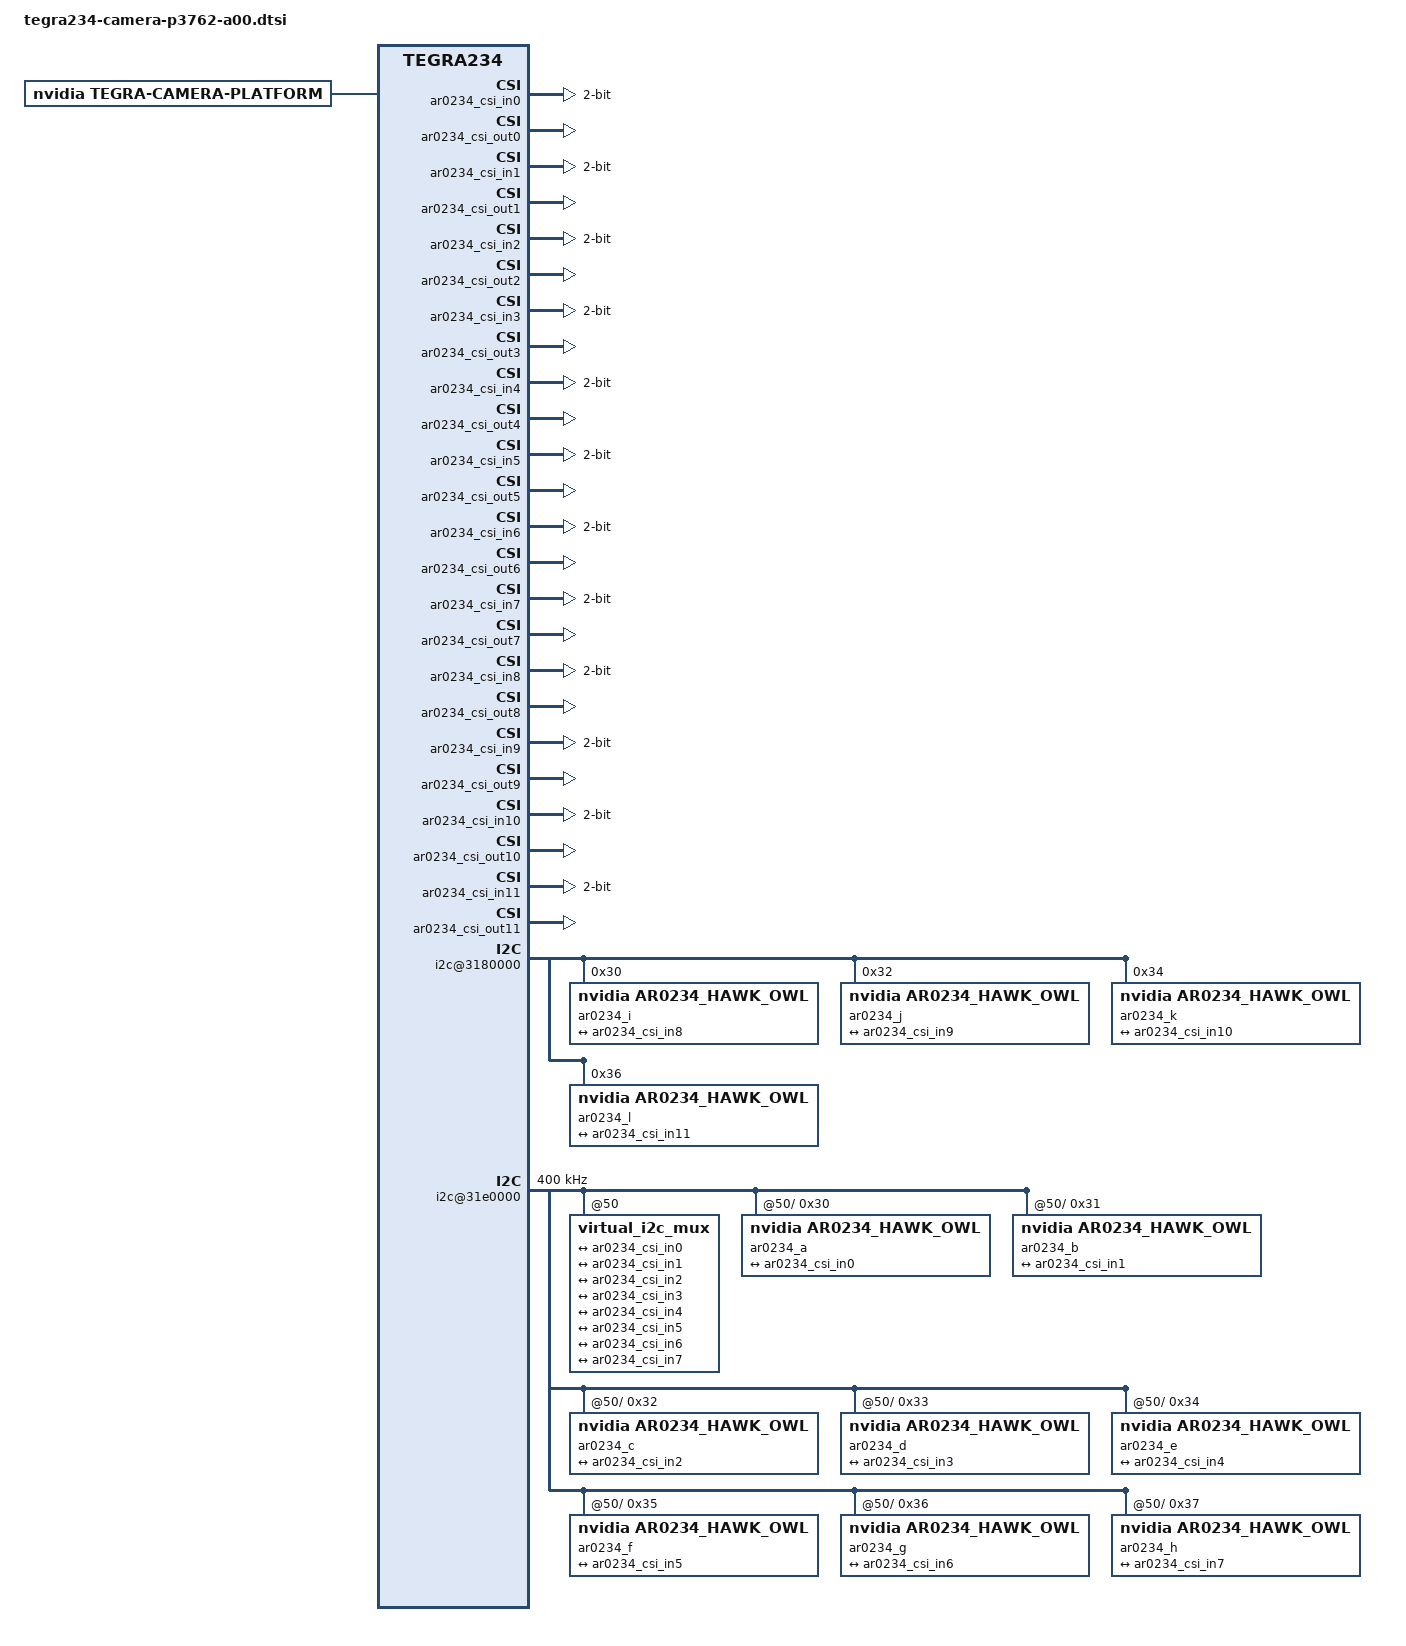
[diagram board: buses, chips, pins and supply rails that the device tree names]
// SPDX-License-Identifier: GPL-2.0-only
// SPDX-FileCopyrightText: Copyright (c) 2023-2024, NVIDIA CORPORATION & AFFILIATES. All rights reserved.

/* 12 camera module with 4 hawks and 4 Owls
 * HAWK1 - 2 ar0234 cameras - max96712 Aggregator 1 - GMSL0
 * HAWK2 - 2 ar0234 cameras - max96712 Aggregator 1 - GMSL0
 * HAWK3 - 2 ar0234 cameras - max96712 Aggregator 1 - GMSL0
 * HAWK4 - 2 ar0234 cameras - max96712 Aggregator 1 - GMSL0
 * OWL1  - 1 ar0234 camera  - max96712 Aggregator 2 - GMSL1
 * OWL2  - 1 ar0234 camera  - max96712 Aggregator 2 - GMSL1
 * OWL3  - 1 ar0234 camera  - max96712 Aggregator 2 - GMSL1
 * OWL4  - 1 ar0234 camera  - max96712 Aggregator 2 - GMSL1
 */
/ {
	fragment-camera@0 {
		target-path = "/";
		__overlay__ {
			tegra-capture-vi {
				num-channels = <12>;
				ports {
					#address-cells = <1>;
					#size-cells = <0>;
					port@0 {
						reg = <0>;
						status = "okay";
						ar0234_vi_in0: endpoint {
							vc-id = <0>;
							port-index = <0>;
							bus-width = <2>;
							remote-endpoint = <&ar0234_csi_out0>;
							status = "okay";
						};
					};
					port@1 {
						reg = <1>;
						status = "okay";
						ar0234_vi_in1: endpoint {
							vc-id = <1>;
							port-index = <0>;
							bus-width = <2>;
							remote-endpoint = <&ar0234_csi_out1>;
							status = "okay";
						};
					};
					port@2 {
						reg = <2>;
						status = "okay";
						ar0234_vi_in2: endpoint {
							vc-id = <0>;
							port-index = <1>;
							bus-width = <2>;
							remote-endpoint = <&ar0234_csi_out2>;
							status = "okay";
						};
					};
					port@3 {
						reg = <3>;
						status = "okay";
						ar0234_vi_in3: endpoint {
							vc-id = <1>;
							port-index = <1>;
							bus-width = <2>;
							remote-endpoint = <&ar0234_csi_out3>;
							status = "okay";
						};
					};
					port@4 {
						reg = <4>;
						status = "okay";
						ar0234_vi_in4: endpoint {
							vc-id = <0>;
							port-index = <2>;
							bus-width = <2>;
							remote-endpoint = <&ar0234_csi_out4>;
							status = "okay";
						};
					};
					port@5 {
						reg = <5>;
						status = "okay";
						ar0234_vi_in5: endpoint {
							vc-id = <1>;
							port-index = <2>;
							bus-width = <2>;
							remote-endpoint = <&ar0234_csi_out5>;
							status = "okay";
						};
					};
					port@6 {
						reg = <6>;
						status = "okay";
						ar0234_vi_in6: endpoint {
							vc-id = <0>;
							port-index = <3>;
							bus-width = <2>;
							remote-endpoint = <&ar0234_csi_out6>;
							status = "okay";
						};
					};
					port@7 {
						reg = <7>;
						status = "okay";
						ar0234_vi_in7: endpoint {
						vc-id = <1>;
							port-index = <3>;
							bus-width = <2>;
							remote-endpoint = <&ar0234_csi_out7>;
							status = "okay";
						};
					};
					port@8 {
						reg = <8>;
						status = "okay";
						ar0234_vi_in8: endpoint {
							vc-id = <0>;
							port-index = <4>;
							bus-width = <2>;
							remote-endpoint = <&ar0234_csi_out8>;
							status = "okay";
						};
					};
					port@9 {
						reg = <9>;
						status = "okay";
						ar0234_vi_in9: endpoint {
							vc-id = <1>;
							port-index = <4>;
							bus-width = <2>;
							remote-endpoint = <&ar0234_csi_out9>;
							status = "okay";
						};
					};
					port@10 {
						reg = <10>;
						status = "okay";
						ar0234_vi_in10: endpoint {
							vc-id = <2>;
							port-index = <4>;
							bus-width = <2>;
							remote-endpoint = <&ar0234_csi_out10>;
							status = "okay";
						};
					};
					port@11 {
						reg = <11>;
						status = "okay";
						ar0234_vi_in11: endpoint {
							vc-id = <3>;
							port-index = <4>;
							bus-width = <2>;
							remote-endpoint = <&ar0234_csi_out11>;
							status = "okay";
						};
					};
				};
			};
			bus@0 {
				host1x@13e00000 {
					nvcsi@15a00000 {
						num-channels = <12>;
						#address-cells = <1>;
						#size-cells = <0>;
						channel@0 {
							reg = <0>;
							status = "okay";
							ports {
								#address-cells = <1>;
								#size-cells = <0>;
								port@0 {
									reg = <0>;
									status = "okay";
									ar0234_csi_in0: endpoint@0 {
										port-index = <0>;
										bus-width = <2>;
										remote-endpoint = <&ar0234_ar0234_out0>;
										status = "okay";
									};
								};
								port@1 {
									reg = <1>;
									status = "okay";
									ar0234_csi_out0: endpoint@1 {
										remote-endpoint = <&ar0234_vi_in0>;
										status = "okay";
									};
								};
							};
						};
						channel@1 {
							reg = <1>;
							status = "okay";
							ports {
								#address-cells = <1>;
								#size-cells = <0>;
								port@0 {
									reg = <0>;
									status = "okay";
									ar0234_csi_in1: endpoint@2 {
										port-index = <0>;
										bus-width = <2>;
										remote-endpoint = <&ar0234_ar0234_out1>;
										status = "okay";
									};
								};
								port@1 {
									reg = <1>;
									status = "okay";
									ar0234_csi_out1: endpoint@3 {
										remote-endpoint = <&ar0234_vi_in1>;
										status = "okay";
									};
								};
							};
						};
						channel@2 {
							reg = <2>;
							status = "okay";
							ports {
								#address-cells = <1>;
								#size-cells = <0>;
								port@0 {
									reg = <0>;
									status = "okay";
									ar0234_csi_in2: endpoint@4 {
										port-index = <1>;
										bus-width = <2>;
										remote-endpoint = <&ar0234_ar0234_out2>;
										status = "okay";
									};
								};
								port@1 {
									reg = <1>;
									status = "okay";
									ar0234_csi_out2: endpoint@5 {
										remote-endpoint = <&ar0234_vi_in2>;
										status = "okay";
									};
								};
							};
						};
						channel@3 {
							reg = <3>;
							status = "okay";
							ports {
								#address-cells = <1>;
								#size-cells = <0>;
								port@0 {
									reg = <0>;
									status = "okay";
									ar0234_csi_in3: endpoint@6 {
										port-index = <1>;
										bus-width = <2>;
										remote-endpoint = <&ar0234_ar0234_out3>;
										status = "okay";
									};
								};
								port@1 {
									reg = <1>;
									status = "okay";
									ar0234_csi_out3: endpoint@7 {
										remote-endpoint = <&ar0234_vi_in3>;
										status = "okay";
									};
								};
							};
						};
						channel@4 {
							reg = <4>;
							status = "okay";
							ports {
								#address-cells = <1>;
								#size-cells = <0>;
								port@0 {
									reg = <0>;
									status = "okay";
									ar0234_csi_in4: endpoint@8 {
										port-index = <2>;
										bus-width = <2>;
										remote-endpoint = <&ar0234_ar0234_out4>;
										status = "okay";
									};
								};
								port@1 {
									reg = <1>;
									status = "okay";
									ar0234_csi_out4: endpoint@9 {
										remote-endpoint = <&ar0234_vi_in4>;
										status = "okay";
									};
								};
							};
						};
						channel@5 {
							reg = <5>;
							status = "okay";
							ports {
								#address-cells = <1>;
								#size-cells = <0>;
								port@0 {
									reg = <0>;
									status = "okay";
									ar0234_csi_in5: endpoint@10 {
										port-index = <2>;
										bus-width = <2>;
										remote-endpoint = <&ar0234_ar0234_out5>;
										status = "okay";
									};
								};
								port@1 {
									reg = <1>;
									status = "okay";
									ar0234_csi_out5: endpoint@11 {
										remote-endpoint = <&ar0234_vi_in5>;
										status = "okay";
									};
								};
							};
						};
						channel@6 {
							reg = <6>;
							status = "okay";
							ports {
								#address-cells = <1>;
								#size-cells = <0>;
								port@0 {
									reg = <0>;
									status = "okay";
									ar0234_csi_in6: endpoint@12 {
										port-index = <3>;
										bus-width = <2>;
										remote-endpoint = <&ar0234_ar0234_out6>;
										status = "okay";
									};
								};
								port@1 {
									reg = <1>;
									status = "okay";
									ar0234_csi_out6: endpoint@13 {
										remote-endpoint = <&ar0234_vi_in6>;
										status = "okay";
									};
								};
							};
						};
						channel@7 {
							reg = <7>;
							status = "okay";
							ports {
								#address-cells = <1>;
								#size-cells = <0>;
								port@0 {
									reg = <0>;
									status = "okay";
									ar0234_csi_in7: endpoint@14 {
										port-index = <3>;
										bus-width = <2>;
										remote-endpoint = <&ar0234_ar0234_out7>;
										status = "okay";
									};
								};
								port@1 {
									reg = <1>;
									status = "okay";
									ar0234_csi_out7: endpoint@15 {
										remote-endpoint = <&ar0234_vi_in7>;
										status = "okay";
									};
								};
							};
						};
						channel@8 {
							reg = <8>;
							status = "okay";
							ports {
								#address-cells = <1>;
								#size-cells = <0>;
								port@0 {
									reg = <0>;
									status = "okay";
									ar0234_csi_in8: endpoint@16 {
										port-index = <4>;
										bus-width = <2>;
										remote-endpoint = <&ar0234_ar0234_out8>;
										status = "okay";
									};
								};
								port@1 {
									reg = <1>;
									status = "okay";
									ar0234_csi_out8: endpoint@17 {
										remote-endpoint = <&ar0234_vi_in8>;
										status = "okay";
									};
								};
							};
						};
						channel@9 {
							reg = <9>;
							status = "okay";
							ports {
								#address-cells = <1>;
								#size-cells = <0>;
								port@0 {
									reg = <0>;
									status = "okay";
									ar0234_csi_in9: endpoint@18 {
										port-index = <4>;
										bus-width = <2>;
										remote-endpoint = <&ar0234_ar0234_out9>;
										status = "okay";
									};
								};
								port@1 {
									reg = <1>;
									status = "okay";
									ar0234_csi_out9: endpoint@19 {
										remote-endpoint = <&ar0234_vi_in9>;
										status = "okay";
									};
								};
							};
						};
						channel@10 {
							reg = <10>;
							status = "okay";
							ports {
								#address-cells = <1>;
								#size-cells = <0>;
								port@0 {
									reg = <0>;
									status = "okay";
									ar0234_csi_in10: endpoint@20 {
										port-index = <4>;
										bus-width = <2>;
										remote-endpoint = <&ar0234_ar0234_out10>;
										status = "okay";
									};
								};
								port@1 {
									reg = <1>;
									status = "okay";
									ar0234_csi_out10: endpoint@21 {
										remote-endpoint = <&ar0234_vi_in10>;
										status = "okay";
									};
								};
							};
						};
						channel@11 {
							reg = <11>;
							status = "okay";
							ports {
								#address-cells = <1>;
								#size-cells = <0>;
								port@0 {
									reg = <0>;
									status = "okay";
									ar0234_csi_in11: endpoint@22 {
										port-index = <4>;
										bus-width = <2>;
										remote-endpoint = <&ar0234_ar0234_out11>;
										status = "okay";
									};
								};
								port@1 {
									reg = <1>;
									status = "okay";
									ar0234_csi_out11: endpoint@23 {
										remote-endpoint = <&ar0234_vi_in11>;
										status = "okay";
									};
								};
							};
						};
					};
				};
				i2c@3180000 {
					ar0234_i@30 {
						compatible = "nvidia,ar0234_hawk_owl";
						reg = <0x30>;
						/* Physical dimensions of sensor */
						physical_w = "15.0";
						physical_h = "12.5";
						sensor_model ="ar0234";
						sync_sensor = "OWL1";
						sync_sensor_index = <1>;
						/* Defines number of frames to be dropped by driver internally after applying */
						/* sensor crop settings. Some sensors send corrupt frames after applying */
						/* crop co-ordinates */
						post_crop_frame_drop = "0";
						/* enable CID_SENSOR_MODE_ID for sensor modes selection */
						use_sensor_mode_id = "true";
						mode0 {/*mode IMX424_MODE_3840X1080_CROP_30FPS*/
							mclk_khz = "24000";
							num_lanes = "2";
							tegra_sinterface = "serial_e";
							vc_id = "0";
							discontinuous_clk = "no";
							dpcm_enable = "false";
							cil_settletime = "0";
							dynamic_pixel_bit_depth = "10";
							csi_pixel_bit_depth = "10";
							mode_type = "bayer";
							pixel_phase = "grbg";
							active_w = "1920";
							active_h = "1200";
							readout_orientation = "0";
							line_length = "2448";
							inherent_gain = "1";
							mclk_multiplier = "3.01";
							pix_clk_hz = "134400000";
							serdes_pix_clk_hz = "299000000";
							gain_factor = "100";
							min_gain_val = "100"; /* dB */
							max_gain_val = "1600"; /* dB */
							step_gain_val = "1"; /* 0.1 */
							default_gain = "100";
							min_hdr_ratio = "1";
							max_hdr_ratio = "1";
							framerate_factor = "1000000";
							min_framerate = "30000000";
							max_framerate = "30000000";
							step_framerate = "30000000";
							default_framerate = "30000000";
							exposure_factor = "1000000";
							min_exp_time = "28"; /*us, 2 lines*/
							max_exp_time = "22000";
							step_exp_time = "1";
							default_exp_time = "22000";/* us */
							embedded_metadata_height = "0";
						};
						ports {
							#address-cells = <1>;
							#size-cells = <0>;
							port@0 {
								reg = <0>;
								ar0234_ar0234_out8: endpoint {
									vc-id = <0>;
									port-index = <4>;
									bus-width = <2>;
									remote-endpoint = <&ar0234_csi_in8>;
								};
							};
						};
					};
					ar0234_j@32 {
						compatible = "nvidia,ar0234_hawk_owl";
						reg = <0x32>;
						/* Physical dimensions of sensor */
						physical_w = "15.0";
						physical_h = "12.5";
						sensor_model ="ar0234";
						sync_sensor = "OWL2";
						sync_sensor_index = <1>;
						/* Defines number of frames to be dropped by driver internally after applying */
						/* sensor crop settings. Some sensors send corrupt frames after applying */
						/* crop co-ordinates */
						post_crop_frame_drop = "0";
						/* enable CID_SENSOR_MODE_ID for sensor modes selection */
						use_sensor_mode_id = "true";
						mode0 {/*mode IMX424_MODE_3840X1080_CROP_30FPS*/
							mclk_khz = "24000";
							num_lanes = "2";
							tegra_sinterface = "serial_e";
							vc_id = "1";
							discontinuous_clk = "no";
							dpcm_enable = "false";
							cil_settletime = "0";
							dynamic_pixel_bit_depth = "10";
							csi_pixel_bit_depth = "10";
							mode_type = "bayer";
							pixel_phase = "grbg";
							active_w = "1920";
							active_h = "1200";
							readout_orientation = "0";
							line_length = "2448";
							inherent_gain = "1";
							mclk_multiplier = "3.01";
							pix_clk_hz = "134400000";
							serdes_pix_clk_hz = "299000000";
							gain_factor = "100";
							min_gain_val = "100"; /* dB */
							max_gain_val = "1600"; /* dB */
							step_gain_val = "1"; /* 0.1 */
							default_gain = "100";
							min_hdr_ratio = "1";
							max_hdr_ratio = "1";
							framerate_factor = "1000000";
							min_framerate = "30000000";
							max_framerate = "30000000";
							step_framerate = "30000000";
							default_framerate = "30000000";
							exposure_factor = "1000000";
							min_exp_time = "28"; /*us, 2 lines*/
							max_exp_time = "22000";
							step_exp_time = "1";
							default_exp_time = "22000";/* us */
							embedded_metadata_height = "0";
						};
						ports {
							#address-cells = <1>;
							#size-cells = <0>;
							port@0 {
								reg = <0>;
								ar0234_ar0234_out9: endpoint {
									vc-id = <1>;
									port-index = <4>;
									bus-width = <2>;
									remote-endpoint = <&ar0234_csi_in9>;
								};
							};
						};
					};
					ar0234_k@34 {
						compatible = "nvidia,ar0234_hawk_owl";
						reg = <0x34>;
						/* Physical dimensions of sensor */
						physical_w = "15.0";
						physical_h = "12.5";
						sensor_model ="ar0234";
						sync_sensor = "OWL3";
						sync_sensor_index = <1>;
						/* Defines number of frames to be dropped by driver internally after applying */
						/* sensor crop settings. Some sensors send corrupt frames after applying */
						/* crop co-ordinates */
						post_crop_frame_drop = "0";
						/* enable CID_SENSOR_MODE_ID for sensor modes selection */
						use_sensor_mode_id = "true";
						mode0 {/*mode IMX424_MODE_3840X1080_CROP_30FPS*/
							mclk_khz = "24000";
							num_lanes = "2";
							tegra_sinterface = "serial_e";
							vc_id = "2";
							discontinuous_clk = "no";
							dpcm_enable = "false";
							cil_settletime = "0";
							dynamic_pixel_bit_depth = "10";
							csi_pixel_bit_depth = "10";
							mode_type = "bayer";
							pixel_phase = "grbg";
							active_w = "1920";
							active_h = "1200";
							readout_orientation = "0";
							line_length = "2448";
							inherent_gain = "1";
							mclk_multiplier = "3.01";
							pix_clk_hz = "134400000";
							serdes_pix_clk_hz = "299000000";
							gain_factor = "100";
							min_gain_val = "100"; /* dB */
							max_gain_val = "1600"; /* dB */
							step_gain_val = "1"; /* 0.1 */
							default_gain = "100";
							min_hdr_ratio = "1";
							max_hdr_ratio = "1";
							framerate_factor = "1000000";
							min_framerate = "30000000";
							max_framerate = "30000000";
							step_framerate = "30000000";
							default_framerate = "30000000";
							exposure_factor = "1000000";
							min_exp_time = "28"; /*us, 2 lines*/
							max_exp_time = "22000";
							step_exp_time = "1";
							default_exp_time = "22000";/* us */
							embedded_metadata_height = "0";
						};
						ports {
							#address-cells = <1>;
							#size-cells = <0>;
							port@0 {
								reg = <0>;
								ar0234_ar0234_out10: endpoint {
									vc-id = <2>;
									port-index = <4>;
									bus-width = <2>;
									remote-endpoint = <&ar0234_csi_in10>;
								};
							};
						};
					};
					ar0234_l@36 {
						compatible = "nvidia,ar0234_hawk_owl";
						reg = <0x36>;
						/* Physical dimensions of sensor */
						physical_w = "15.0";
						physical_h = "12.5";
						sensor_model ="ar0234";
						sync_sensor = "OWL4";
						sync_sensor_index = <1>;
						/* Defines number of frames to be dropped by driver internally after applying */
						/* sensor crop settings. Some sensors send corrupt frames after applying */
						/* crop co-ordinates */
						post_crop_frame_drop = "0";
						/* enable CID_SENSOR_MODE_ID for sensor modes selection */
						use_sensor_mode_id = "true";
						mode0 {/*mode IMX424_MODE_3840X1080_CROP_30FPS*/
							mclk_khz = "24000";
							num_lanes = "2";
							tegra_sinterface = "serial_e";
							vc_id = "3";
							discontinuous_clk = "no";
							dpcm_enable = "false";
							cil_settletime = "0";
							dynamic_pixel_bit_depth = "10";
							csi_pixel_bit_depth = "10";
							mode_type = "bayer";
							pixel_phase = "grbg";
							active_w = "1920";
							active_h = "1200";
							readout_orientation = "0";
							line_length = "2448";
							inherent_gain = "1";
							mclk_multiplier = "3.01";
							pix_clk_hz = "134400000";
							serdes_pix_clk_hz = "299000000";
							gain_factor = "100";
							min_gain_val = "100"; /* dB */
							max_gain_val = "1600"; /* dB */
							step_gain_val = "1"; /* 0.1 */
							default_gain = "100";
							min_hdr_ratio = "1";
							max_hdr_ratio = "1";
							framerate_factor = "1000000";
							min_framerate = "30000000";
							max_framerate = "30000000";
							step_framerate = "30000000";
							default_framerate = "30000000";
							exposure_factor = "1000000";
							min_exp_time = "28"; /*us, 2 lines*/
							max_exp_time = "22000";
							step_exp_time = "1";
							default_exp_time = "22000";/* us */
							embedded_metadata_height = "0";
						};
						ports {
							#address-cells = <1>;
							#size-cells = <0>;
							port@0 {
								reg = <0>;
								ar0234_ar0234_out11: endpoint {
									vc-id = <3>;
									port-index = <4>;
									bus-width = <2>;
									remote-endpoint = <&ar0234_csi_in11>;
								};
							};
						};
					};
				};
				/*i2c8*/
				i2c@31e0000 {
					/* Set i2c freq to 400khz */
					clock-frequency = <400000>;
					virtual_i2c_mux@50 {
						i2c@0 {
							ar0234_a@30 {
								compatible = "nvidia,ar0234_hawk_owl";
								reg = <0x30>;
								/* Physical dimensions of sensor */
								physical_w = "15.0";
								physical_h = "12.5";
								sensor_model ="ar0234";
								sync_sensor = "HAWK1";
								sync_sensor_index = <1>;
								/* Defines number of frames to be dropped by driver internally after applying */
								/* sensor crop settings. Some sensors send corrupt frames after applying */
								/* crop co-ordinates */
								post_crop_frame_drop = "0";
								/* enable CID_SENSOR_MODE_ID for sensor modes selection */
								use_sensor_mode_id = "true";
								/**
								 * A modeX node is required to support v4l2 driver
								 * implementation with NVIDIA camera software stack
								 *
								 * mclk_khz = "";
								 * Standard MIPI driving clock, typically 24MHz
								 *
								 * num_lanes = "";
								 * Number of lane channels sensor is programmed to output
								 *
								 * tegra_sinterface = "";
								 * The base tegra serial interface lanes are connected to
								 *
								 * vc_id = "";
								 * The virtual channel id of the sensor.
								 *
								 * discontinuous_clk = "";
								 * The sensor is programmed to use a discontinuous clock on MIPI lanes
								 *
								 * dpcm_enable = "true";
								 * The sensor is programmed to use a DPCM modes
								 *
								 * cil_settletime = "";
								 * MIPI lane settle time value.
								 * A "0" value attempts to autocalibrate based on mclk_khz and pix_clk_hz
								 *
								 * active_w = "";
								 * Pixel active region width
								 *
								 * active_h = "";
								 * Pixel active region height
								 *
								 * dynamic_pixel_bit_depth = "";
								 * sensor dynamic bit depth for sensor mode
								 *
								 * csi_pixel_bit_depth = "";
								 * sensor output bit depth for sensor mode
								 *
								 * mode_type="";
								 * Sensor mode type, For eg: yuv, Rgb, bayer, bayer_wdr_pwl
								 *
								 * pixel_phase="";
								 * Pixel phase for sensor mode, For eg: rggb, vyuy, rgb888
								 *
								 * readout_orientation = "0";
								 * Based on camera module orientation.
								 * Only change readout_orientation if you specifically
								 * Program a different readout order for this mode
								 *
								 * line_length = "";
								 * Pixel line length (width) for sensor mode.
								 * This is used to calibrate features in our camera stack.
								 *
								 * pix_clk_hz = "";
								 * Sensor pixel clock used for calculations like exposure and framerate
								 *
								 *
								 *
								 *
								 * inherent_gain = "";
								 * Gain obtained inherently from mode (ie. pixel binning)
								 *
								 * min_gain_val = ""; (floor to 6 decimal places)
								 * max_gain_val = ""; (floor to 6 decimal places)
								 * Gain limits for mode
								 * if use_decibel_gain = "true", please set the gain as decibel
								 *
								 * min_exp_time = ""; (ceil to integer)
								 * max_exp_time = ""; (ceil to integer)
								 * Exposure Time limits for mode (us)
								 *
								 *
								 * min_hdr_ratio = "";
								 * max_hdr_ratio = "";
								 * HDR Ratio limits for mode
								 *
								 * min_framerate = "";
								 * max_framerate = "";
								 * Framerate limits for mode (fps)
								 *
								 * embedded_metadata_height = "";
								 * Sensor embedded metadata height in units of rows.
								 * If sensor does not support embedded metadata value should be 0.
								*/
								mode0 {/*mode IMX424_MODE_3840X1080_CROP_30FPS*/
									mclk_khz = "24000";
									num_lanes = "2";
									tegra_sinterface = "serial_a";
									phy_mode = "DPHY";
									vc_id = "0";
									discontinuous_clk = "no";
									dpcm_enable = "false";
									cil_settletime = "0";
									dynamic_pixel_bit_depth = "10";
									csi_pixel_bit_depth = "10";
									mode_type = "bayer";
									pixel_phase = "grbg";
									active_w = "1920";
									active_h = "1200";
									readout_orientation = "0";
									line_length = "2448";
									inherent_gain = "1";
									mclk_multiplier = "3.01";
									pix_clk_hz = "134400000";
									serdes_pix_clk_hz = "299000000";
									gain_factor = "100";
									min_gain_val = "100"; /* dB */
									max_gain_val = "1600"; /* dB */
									step_gain_val = "1"; /* 0.1 */
									default_gain = "100";
									min_hdr_ratio = "1";
									max_hdr_ratio = "1";
									framerate_factor = "1000000";
									min_framerate = "30000000";
									max_framerate = "30000000";
									step_framerate = "30000000";
									default_framerate = "30000000";
									exposure_factor = "1000000";
									min_exp_time = "28"; /*us, 2 lines*/
									max_exp_time = "22000";
									step_exp_time = "1";
									default_exp_time = "22000";/* us */
									embedded_metadata_height = "0";
								};
								ports {
									#address-cells = <1>;
									#size-cells = <0>;
									port@0 {
										reg = <0>;
										ar0234_ar0234_out0: endpoint {
											vc-id = <0>;
											port-index = <0>;
											bus-width = <2>;
											remote-endpoint = <&ar0234_csi_in0>;
										};
									};
								};
							};
							ar0234_b@31 {
								compatible = "nvidia,ar0234_hawk_owl";
								reg = <0x31>;
								/* Physical dimensions of sensor */
								physical_w = "15.0";
								physical_h = "12.5";
								sensor_model ="ar0234";
								sync_sensor = "HAWK1";
								sync_sensor_index = <2>;
								/* Defines number of frames to be dropped by driver internally after applying */
								/* sensor crop settings. Some sensors send corrupt frames after applying */
								/* crop co-ordinates */
								post_crop_frame_drop = "0";
								/* enable CID_SENSOR_MODE_ID for sensor modes selection */
								use_sensor_mode_id = "true";
								mode0 {/*mode IMX424_MODE_3840X1080_CROP_30FPS*/
									mclk_khz = "24000";
									num_lanes = "2";
									tegra_sinterface = "serial_a";
									vc_id = "1";
									discontinuous_clk = "no";
									dpcm_enable = "false";
									cil_settletime = "0";
									dynamic_pixel_bit_depth = "10";
									csi_pixel_bit_depth = "10";
									mode_type = "bayer";
									pixel_phase = "grbg";
									active_w = "1920";
									active_h = "1200";
									readout_orientation = "0";
									line_length = "2448";
									inherent_gain = "1";
									mclk_multiplier = "3.01";
									pix_clk_hz = "134400000";
									serdes_pix_clk_hz = "299000000";
									gain_factor = "100";
									min_gain_val = "100"; /* dB */
									max_gain_val = "1600"; /* dB */
									step_gain_val = "1"; /* 0.1 */
									default_gain = "100";
									min_hdr_ratio = "1";
									max_hdr_ratio = "1";
									framerate_factor = "1000000";
									min_framerate = "30000000";
									max_framerate = "30000000";
									step_framerate = "30000000";
									default_framerate = "30000000";
									exposure_factor = "1000000";
									min_exp_time = "28"; /*us, 2 lines*/
									max_exp_time = "22000";
									step_exp_time = "1";
									default_exp_time = "22000";/* us */
									embedded_metadata_height = "0";
								};
								ports {
									#address-cells = <1>;
									#size-cells = <0>;
									port@0 {
										reg = <0>;
										ar0234_ar0234_out1: endpoint {
											vc-id = <1>;
											port-index = <0>;
											bus-width = <2>;
											remote-endpoint = <&ar0234_csi_in1>;
										};
									};
								};
							};
						};
						i2c@1 {
							ar0234_c@32 {
								compatible = "nvidia,ar0234_hawk_owl";
								reg = <0x32>;
								/* Physical dimensions of sensor */
								physical_w = "15.0";
								physical_h = "12.5";
								sensor_model ="ar0234";
								sync_sensor = "HAWK2";
								sync_sensor_index = <1>;
								/* Defines number of frames to be dropped by driver internally after applying */
								/* sensor crop settings. Some sensors send corrupt frames after applying */
								/* crop co-ordinates */
								post_crop_frame_drop = "0";
								/* enable CID_SENSOR_MODE_ID for sensor modes selection */
								use_sensor_mode_id = "true";
								mode0 {/*mode IMX424_MODE_3840X1080_CROP_30FPS*/
									mclk_khz = "24000";
									num_lanes = "2";
									tegra_sinterface = "serial_b";
									vc_id = "0";
									discontinuous_clk = "no";
									dpcm_enable = "false";
									cil_settletime = "0";
									dynamic_pixel_bit_depth = "10";
									csi_pixel_bit_depth = "10";
									mode_type = "bayer";
									pixel_phase = "grbg";
									active_w = "1920";
									active_h = "1200";
									readout_orientation = "0";
									line_length = "2448";
									inherent_gain = "1";
									mclk_multiplier = "3.01";
									pix_clk_hz = "134400000";
									serdes_pix_clk_hz = "299000000";
									gain_factor = "100";
									min_gain_val = "100"; /* dB */
									max_gain_val = "1600"; /* dB */
									step_gain_val = "1"; /* 0.1 */
									default_gain = "100";
									min_hdr_ratio = "1";
									max_hdr_ratio = "1";
									framerate_factor = "1000000";
									min_framerate = "30000000";
									max_framerate = "30000000";
									step_framerate = "30000000";
									default_framerate = "30000000";
									exposure_factor = "1000000";
									min_exp_time = "28"; /*us, 2 lines*/
									max_exp_time = "22000";
									step_exp_time = "1";
									default_exp_time = "22000";/* us */
									embedded_metadata_height = "0";
								};
								ports {
									#address-cells = <1>;
									#size-cells = <0>;
									port@0 {
										reg = <0>;
										ar0234_ar0234_out2: endpoint {
											vc-id = <0>;
											port-index = <1>;
											bus-width = <2>;
											remote-endpoint = <&ar0234_csi_in2>;
										};
									};
								};
							};
							ar0234_d@33 {
								compatible = "nvidia,ar0234_hawk_owl";
								reg = <0x33>;
								/* Physical dimensions of sensor */
								physical_w = "15.0";
								physical_h = "12.5";
								sensor_model ="ar0234";
								sync_sensor = "HAWK2";
								sync_sensor_index = <2>;
								/* Defines number of frames to be dropped by driver internally after applying */
								/* sensor crop settings. Some sensors send corrupt frames after applying */
								/* crop co-ordinates */
								post_crop_frame_drop = "0";
								/* enable CID_SENSOR_MODE_ID for sensor modes selection */
								use_sensor_mode_id = "true";
								mode0 {/*mode IMX424_MODE_3840X1080_CROP_30FPS*/
									mclk_khz = "24000";
									num_lanes = "2";
									tegra_sinterface = "serial_b";
									vc_id = "1";
									discontinuous_clk = "no";
									dpcm_enable = "false";
									cil_settletime = "0";
									dynamic_pixel_bit_depth = "10";
									csi_pixel_bit_depth = "10";
									mode_type = "bayer";
									pixel_phase = "grbg";
									active_w = "1920";
									active_h = "1200";
									readout_orientation = "0";
									line_length = "2448";
									inherent_gain = "1";
									mclk_multiplier = "3.01";
									pix_clk_hz = "134400000";
									serdes_pix_clk_hz = "299000000";
									gain_factor = "100";
									min_gain_val = "100"; /* dB */
									max_gain_val = "1600"; /* dB */
									step_gain_val = "1"; /* 0.1 */
									default_gain = "100";
									min_hdr_ratio = "1";
									max_hdr_ratio = "1";
									framerate_factor = "1000000";
									min_framerate = "30000000";
									max_framerate = "30000000";
									step_framerate = "30000000";
									default_framerate = "30000000";
									exposure_factor = "1000000";
									min_exp_time = "28"; /*us, 2 lines*/
									max_exp_time = "22000";
									step_exp_time = "1";
									default_exp_time = "22000";/* us */
									embedded_metadata_height = "0";
								};
								ports {
									#address-cells = <1>;
									#size-cells = <0>;
									port@0 {
										reg = <0>;
										ar0234_ar0234_out3: endpoint {
											vc-id = <1>;
											port-index = <1>;
											bus-width = <2>;
											remote-endpoint = <&ar0234_csi_in3>;
										};
									};
								};
							};
							ar0234_e@34 {
								compatible = "nvidia,ar0234_hawk_owl";
								reg = <0x34>;
								/* Physical dimensions of sensor */
								physical_w = "15.0";
								physical_h = "12.5";
								sensor_model ="ar0234";
								sync_sensor = "HAWK3";
								sync_sensor_index = <1>;
								/* Defines number of frames to be dropped by driver internally after applying */
								/* sensor crop settings. Some sensors send corrupt frames after applying */
								/* crop co-ordinates */
								post_crop_frame_drop = "0";
								/* enable CID_SENSOR_MODE_ID for sensor modes selection */
								use_sensor_mode_id = "true";
								mode0 {/*mode IMX424_MODE_3840X1080_CROP_30FPS*/
									mclk_khz = "24000";
									num_lanes = "2";
									tegra_sinterface = "serial_c";
									vc_id = "0";
									discontinuous_clk = "no";
									dpcm_enable = "false";
									cil_settletime = "0";
									dynamic_pixel_bit_depth = "10";
									csi_pixel_bit_depth = "10";
									mode_type = "bayer";
									pixel_phase = "grbg";
									active_w = "1920";
									active_h = "1200";
									readout_orientation = "0";
									line_length = "2448";
									inherent_gain = "1";
									mclk_multiplier = "3.01";
									pix_clk_hz = "134400000";
									serdes_pix_clk_hz = "299000000";
									gain_factor = "100";
									min_gain_val = "100"; /* dB */
									max_gain_val = "1600"; /* dB */
									step_gain_val = "1"; /* 0.1 */
									default_gain = "100";
									min_hdr_ratio = "1";
									max_hdr_ratio = "1";
									framerate_factor = "1000000";
									min_framerate = "30000000";
									max_framerate = "30000000";
									step_framerate = "30000000";
									default_framerate = "30000000";
									exposure_factor = "1000000";
									min_exp_time = "28"; /*us, 2 lines*/
									max_exp_time = "22000";
									step_exp_time = "1";
									default_exp_time = "22000";/* us */
									embedded_metadata_height = "0";
								};
								ports {
									#address-cells = <1>;
									#size-cells = <0>;
									port@0 {
										reg = <0>;
										ar0234_ar0234_out4: endpoint {
											vc-id = <0>;
											port-index = <2>;
											bus-width = <2>;
											remote-endpoint = <&ar0234_csi_in4>;
										};
									};
								};
							};
							ar0234_f@35 {
								compatible = "nvidia,ar0234_hawk_owl";
								reg = <0x35>;
								/* Physical dimensions of sensor */
								physical_w = "15.0";
								physical_h = "12.5";
								sensor_model ="ar0234";
								sync_sensor = "HAWK3";
								sync_sensor_index = <2>;
								/* Defines number of frames to be dropped by driver internally after applying */
								/* sensor crop settings. Some sensors send corrupt frames after applying */
								/* crop co-ordinates */
								post_crop_frame_drop = "0";
								/* enable CID_SENSOR_MODE_ID for sensor modes selection */
								use_sensor_mode_id = "true";
								mode0 {/*mode IMX424_MODE_3840X1080_CROP_30FPS*/
									mclk_khz = "24000";
									num_lanes = "2";
									tegra_sinterface = "serial_c";
									vc_id = "1";
									discontinuous_clk = "no";
									dpcm_enable = "false";
									cil_settletime = "0";
									dynamic_pixel_bit_depth = "10";
									csi_pixel_bit_depth = "10";
									mode_type = "bayer";
									pixel_phase = "grbg";
									active_w = "1920";
									active_h = "1200";
									readout_orientation = "0";
									line_length = "2448";
									inherent_gain = "1";
									mclk_multiplier = "3.01";
									pix_clk_hz = "134400000";
									serdes_pix_clk_hz = "299000000";
									gain_factor = "100";
									min_gain_val = "100"; /* dB */
									max_gain_val = "1600"; /* dB */
									step_gain_val = "1"; /* 0.1 */
									default_gain = "100";
									min_hdr_ratio = "1";
									max_hdr_ratio = "1";
									framerate_factor = "1000000";
									min_framerate = "30000000";
									max_framerate = "30000000";
									step_framerate = "30000000";
									default_framerate = "30000000";
									exposure_factor = "1000000";
									min_exp_time = "28"; /*us, 2 lines*/
									max_exp_time = "22000";
									step_exp_time = "1";
									default_exp_time = "22000";/* us */
									embedded_metadata_height = "0";
								};
								ports {
									#address-cells = <1>;
									#size-cells = <0>;
									port@0 {
										reg = <0>;
										ar0234_ar0234_out5: endpoint {
											vc-id = <1>;
											port-index = <2>;
											bus-width = <2>;
											remote-endpoint = <&ar0234_csi_in5>;
										};
									};
								};
							};
							ar0234_g@36 {
								compatible = "nvidia,ar0234_hawk_owl";
								reg = <0x36>;
								/* Physical dimensions of sensor */
								physical_w = "15.0";
								physical_h = "12.5";
								sensor_model ="ar0234";
								sync_sensor = "HAWK4";
								sync_sensor_index = <1>;
								/* Defines number of frames to be dropped by driver internally after applying */
								/* sensor crop settings. Some sensors send corrupt frames after applying */
								/* crop co-ordinates */
								post_crop_frame_drop = "0";
								/* enable CID_SENSOR_MODE_ID for sensor modes selection */
								use_sensor_mode_id = "true";
								mode0 {/*mode IMX424_MODE_3840X1080_CROP_30FPS*/
									mclk_khz = "24000";
									num_lanes = "2";
									tegra_sinterface = "serial_d";
									vc_id = "0";
									discontinuous_clk = "no";
									dpcm_enable = "false";
									cil_settletime = "0";
									dynamic_pixel_bit_depth = "10";
									csi_pixel_bit_depth = "10";
									mode_type = "bayer";
									pixel_phase = "grbg";
									active_w = "1920";
									active_h = "1200";
									readout_orientation = "0";
									line_length = "2448";
									inherent_gain = "1";
									mclk_multiplier = "3.01";
									pix_clk_hz = "134400000";
									serdes_pix_clk_hz = "299000000";
									gain_factor = "100";
									min_gain_val = "100"; /* dB */
									max_gain_val = "1600"; /* dB */
									step_gain_val = "1"; /* 0.1 */
									default_gain = "100";
									min_hdr_ratio = "1";
									max_hdr_ratio = "1";
									framerate_factor = "1000000";
									min_framerate = "30000000";
									max_framerate = "30000000";
									step_framerate = "30000000";
									default_framerate = "30000000";
									exposure_factor = "1000000";
									min_exp_time = "28"; /*us, 2 lines*/
									max_exp_time = "22000";
									step_exp_time = "1";
									default_exp_time = "22000";/* us */
									embedded_metadata_height = "0";
								};
								ports {
									#address-cells = <1>;
									#size-cells = <0>;
									port@0 {
										reg = <0>;
										ar0234_ar0234_out6: endpoint {
											vc-id = <0>;
											port-index = <3>;
											bus-width = <2>;
											remote-endpoint = <&ar0234_csi_in6>;
										};
									};
								};
							};
							ar0234_h@37 {
								compatible = "nvidia,ar0234_hawk_owl";
								reg = <0x37>;
								/* Physical dimensions of sensor */
								physical_w = "15.0";
								physical_h = "12.5";
								sensor_model ="ar0234";
								sync_sensor = "HAWK4";
								sync_sensor_index = <2>;
								/* Defines number of frames to be dropped by driver internally after applying */
								/* sensor crop settings. Some sensors send corrupt frames after applying */
								/* crop co-ordinates */
								post_crop_frame_drop = "0";
								/* enable CID_SENSOR_MODE_ID for sensor modes selection */
								use_sensor_mode_id = "true";
								mode0 {/*mode IMX424_MODE_3840X1080_CROP_30FPS*/
									mclk_khz = "24000";
									num_lanes = "2";
									tegra_sinterface = "serial_d";
									vc_id = "1";
									discontinuous_clk = "no";
									dpcm_enable = "false";
									cil_settletime = "0";
									dynamic_pixel_bit_depth = "10";
									csi_pixel_bit_depth = "10";
									mode_type = "bayer";
									pixel_phase = "grbg";
									active_w = "1920";
									active_h = "1200";
									readout_orientation = "0";
									line_length = "2448";
									inherent_gain = "1";
									mclk_multiplier = "3.01";
									pix_clk_hz = "134400000";
									serdes_pix_clk_hz = "299000000";
									gain_factor = "100";
									min_gain_val = "100"; /* dB */
									max_gain_val = "1600"; /* dB */
									step_gain_val = "1"; /* 0.1 */
									default_gain = "100";
									min_hdr_ratio = "1";
									max_hdr_ratio = "1";
									framerate_factor = "1000000";
									min_framerate = "30000000";
									max_framerate = "30000000";
									step_framerate = "30000000";
									default_framerate = "30000000";
									exposure_factor = "1000000";
									min_exp_time = "28"; /*us, 2 lines*/
									max_exp_time = "22000";
									step_exp_time = "1";
									default_exp_time = "22000";/* us */
									embedded_metadata_height = "0";
								};
								ports {
									#address-cells = <1>;
									#size-cells = <0>;
									port@0 {
										reg = <0>;
										ar0234_ar0234_out7: endpoint {
											vc-id = <1>;
											port-index = <3>;
											bus-width = <2>;
											remote-endpoint = <&ar0234_csi_in7>;
										};
									};
								};
							};
						};
					};
				};
			};
			tegra-camera-platform {
				compatible = "nvidia, tegra-camera-platform";

				/**
				 * The general guideline for naming badge_info contains 3 parts, and is as follows,
				 * The first part is the camera_board_id for the module; if the module is in a FFD
				 * platform, then use the platform name for this part.
				 * The second part contains the position of the module, ex. "rear" or "front".
				 * The third part contains the last 6 characters of a part number which is found
				 * in the module's specsheet from the vender.
				 */
				modules {
					module0 {
						badge = "ar0234_bottomleft_NOVA0";
						position = "bottomleft";
						orientation = "1";
						status = "okay";
						drivernode0 {
							/* Declare PCL support driver (classically known as guid)  */
							pcl_id = "v4l2_sensor";
							/* Declare the device-tree hierarchy to driver instance */
							sysfs-device-tree = "/sys/firmware/devicetree/base/bus@0/i2c@3180000/ar0234_i@30";
							status = "okay";
						};
					};
					module1 {
						badge = "ar0234_centerleft_NOVA0";
						position = "centerleft";
						orientation = "1";
						status = "okay";
						drivernode0 {
							/* Declare PCL support driver (classically known as guid)  */
							pcl_id = "v4l2_sensor";
							/* Declare the device-tree hierarchy to driver instance */
							sysfs-device-tree = "/sys/firmware/devicetree/base/bus@0/i2c@3180000/ar0234_j@32";
							status = "okay";
						};
					};
					module2 {
						badge = "ar0234_centerright_NOVA0";
						position = "centerright";
						orientation = "1";
						status = "okay";
						drivernode0 {
							pcl_id = "v4l2_sensor";
							sysfs-device-tree = "/sys/firmware/devicetree/base/bus@0/i2c@3180000/ar0234_k@34";
							status = "okay";
						};
					};
					module3 {
						badge = "ar0234_topleft_NOVA0";
						position = "topleft";
						orientation = "1";
						status = "okay";
						drivernode0 {
							pcl_id = "v4l2_sensor";
							sysfs-device-tree = "/sys/firmware/devicetree/base/bus@0/i2c@3180000/ar0234_l@36";
							status = "okay";
						};
					};
					module4 {
						badge = "ar0234_bottomright_NOVA0";
						position = "bottomright";
						orientation = "1";
						status = "okay";
						drivernode0 {
							pcl_id = "v4l2_sensor";
							sysfs-device-tree = "/sys/firmware/devicetree/base/bus@0/i2c@31e0000/virtual_i2c_mux@50/i2c@0/ar0234_a@30";
							status = "okay";
						};
					};
					module5 {
						badge = "ar0234_topright_NOVA0";
						position = "topright";
						orientation = "1";
						status = "okay";
						drivernode0 {
							pcl_id = "v4l2_sensor";
							sysfs-device-tree = "/sys/firmware/devicetree/base/bus@0/i2c@31e0000/virtual_i2c_mux@50/i2c@0/ar0234_b@31";
							status = "okay";
						};
					};
					module6 {
						badge = "ar0234_bottomcenter_NOVA0";
						position = "bottomcenter";
						orientation = "1";
						status = "okay";
						drivernode0 {
							pcl_id = "v4l2_sensor";
							sysfs-device-tree = "/sys/firmware/devicetree/base/bus@0/i2c@31e0000/virtual_i2c_mux@50/i2c@1/ar0234_c@32";
							status = "okay";
						};
					};
					module7 {
						badge = "ar0234_topcenter_NOVA0";
						position = "topcenter";
						orientation = "1";
						status = "okay";
						drivernode0 {
							pcl_id = "v4l2_sensor";
							sysfs-device-tree = "/sys/firmware/devicetree/base/bus@0/i2c@31e0000/virtual_i2c_mux@50/i2c@1/ar0234_d@33";
							status = "okay";
						};
					};
					module8 {
						badge = "ar0234_frontcenter_NOVA0";
						position = "frontcenter";
						orientation = "1";
						status = "okay";
						drivernode0 {
							pcl_id = "v4l2_sensor";
							sysfs-device-tree = "/sys/firmware/devicetree/base/bus@0/i2c@31e0000/virtual_i2c_mux@50/i2c@1/ar0234_e@34";
							status = "okay";
						};
					};
					module9 {
						badge = "ar0234_rearcenter_NOVA0";
						position = "rearcenter";
						orientation = "1";
						status = "okay";
						drivernode0 {
							pcl_id = "v4l2_sensor";
							sysfs-device-tree = "/sys/firmware/devicetree/base/bus@0/i2c@31e0000/virtual_i2c_mux@50/i2c@1/ar0234_f@35";
							status = "okay";
						};
					};
					module10 {
						badge = "ar0234_leftcenter_NOVA0";
						position = "leftcenter";
						orientation = "1";
						status = "okay";
						drivernode0 {
							pcl_id = "v4l2_sensor";
							sysfs-device-tree = "/sys/firmware/devicetree/base/bus@0/i2c@31e0000/virtual_i2c_mux@50/i2c@1/ar0234_g@36";
							status = "okay";
						};
					};
					module11 {
						badge = "ar0234_rightcenter_NOVA0";
						position = "rightcenter";
						orientation = "1";
						status = "okay";
						drivernode0 {
							pcl_id = "v4l2_sensor";
							sysfs-device-tree = "/sys/firmware/devicetree/base/bus@0/i2c@31e0000/virtual_i2c_mux@50/i2c@1/ar0234_h@37";
							status = "okay";
						};
					};
				};
			};
		};
	};
};
